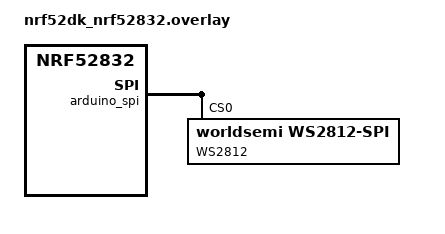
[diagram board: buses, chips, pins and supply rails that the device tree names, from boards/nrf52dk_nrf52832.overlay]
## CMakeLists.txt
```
# SPDX-License-Identifier: Apache-2.0

cmake_minimum_required(VERSION 3.13.1)

find_package(Zephyr REQUIRED HINTS $ENV{ZEPHYR_BASE})
project(led_ws2812)

FILE(GLOB app_sources src/*.c)
target_sources(app PRIVATE ${app_sources})
```

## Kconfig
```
# Copyright (c) 2019 Nordic Semiconductor ASA
# SPDX-License-Identifier: Apache-2.0

# Use the SPI driver by default, unless the GPIO driver is
# specifically configured in.
config SPI
	default y

source "Kconfig.zephyr"
```

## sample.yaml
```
sample:
  description: Demonstration of the WS2812 LED driver
  name: WS2812 sample
tests:
  sample.drivers.led.ws2812:
    platform_allow: bbc_microbit nrf51dk_nrf51422 nrf52dk_nrf52832
    tags: LED
```

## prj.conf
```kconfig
CONFIG_LOG=y
CONFIG_LED_STRIP=y
CONFIG_LED_STRIP_LOG_LEVEL_DBG=y
CONFIG_WS2812_STRIP=y
```

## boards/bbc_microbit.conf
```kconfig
CONFIG_SPI=n
CONFIG_WS2812_STRIP_GPIO=y
```

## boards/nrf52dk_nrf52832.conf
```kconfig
CONFIG_SPI=y

# This driver only uses spi_write() with the SPIM instance it allocates,
# so PAN 58 doesn't matter, because the RX length is always 0.
CONFIG_SOC_NRF52832_ALLOW_SPIM_DESPITE_PAN_58=y
```

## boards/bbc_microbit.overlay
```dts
/*
 * Copyright (c) 2019, Nordic Semiconductor ASA
 *
 * SPDX-License-Identifier: Apache-2.0
 */

#include <dt-bindings/gpio/gpio.h>

/ {
	led_strip: ws2812 {
		compatible = "worldsemi,ws2812-gpio";
		label = "WS2812";

		chain-length = <16>; /* arbitrary; change at will */
		/* P0: */
		in-gpios = <&gpio0 3 0>;
	};

	aliases {
		led-strip = &led_strip;
	};
};
```

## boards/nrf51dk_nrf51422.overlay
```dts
/*
 * Copyright (c) 2019, Nordic Semiconductor ASA
 *
 * SPDX-License-Identifier: Apache-2.0
 */

#include <dt-bindings/gpio/gpio.h>

/ {
	led_strip: ws2812 {
		compatible = "worldsemi,ws2812-gpio";
		label = "WS2812";

		chain-length = <16>; /* arbitrary */
		/*
		 * Arduino D11 / P0.25, which was chosen to match the pin
		 * used in nrf52dk_nrf52832.overlay.
		 */
		in-gpios = <&gpio0 25 0>;
	};

	aliases {
		led-strip = &led_strip;
	};
};
```

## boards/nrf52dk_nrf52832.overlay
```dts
/*
 * Copyright (c) 2019, Nordic Semiconductor ASA
 *
 * SPDX-License-Identifier: Apache-2.0
 */

#include "../nrf52-bindings.h"

&arduino_spi { /* MOSI on D11 / P0.23 */
	compatible = "nordic,nrf-spim";
	led_strip: ws2812@0 {
		compatible = "worldsemi,ws2812-spi";
		label = "WS2812";

		/* SPI */
		reg = <0>; /* ignored, but necessary for SPI bindings */
		spi-max-frequency = <SPI_FREQ>;

		/* WS2812 */
		chain-length = <16>; /* arbitrary; change at will */
		spi-one-frame = <ONE_FRAME>;
		spi-zero-frame = <ZERO_FRAME>;
	};
};

/ {
	aliases {
		led-strip = &led_strip;
	};
};
```

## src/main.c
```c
/*
 * Copyright (c) 2017 Linaro Limited
 * Copyright (c) 2018 Intel Corporation
 *
 * SPDX-License-Identifier: Apache-2.0
 */

#include <errno.h>
#include <string.h>

#define LOG_LEVEL 4
#include <logging/log.h>
LOG_MODULE_REGISTER(main);

#include <zephyr.h>
#include <drivers/led_strip.h>
#include <device.h>
#include <drivers/spi.h>
#include <sys/util.h>

#define STRIP_NODE		DT_ALIAS(led_strip)
#define STRIP_NUM_PIXELS	DT_PROP(DT_ALIAS(led_strip), chain_length)

#define DELAY_TIME K_MSEC(50)

#define RGB(_r, _g, _b) { .r = (_r), .g = (_g), .b = (_b) }

static const struct led_rgb colors[] = {
	RGB(0x0f, 0x00, 0x00), /* red */
	RGB(0x00, 0x0f, 0x00), /* green */
	RGB(0x00, 0x00, 0x0f), /* blue */
};

struct led_rgb pixels[STRIP_NUM_PIXELS];

static const struct device *strip = DEVICE_DT_GET(STRIP_NODE);

void main(void)
{
	size_t cursor = 0, color = 0;
	int rc;

	if (device_is_ready(strip)) {
		LOG_INF("Found LED strip device %s", strip->name);
	} else {
		LOG_ERR("LED strip device %s is not ready", strip->name);
		return;
	}

	LOG_INF("Displaying pattern on strip");
	while (1) {
		memset(&pixels, 0x00, sizeof(pixels));
		memcpy(&pixels[cursor], &colors[color], sizeof(struct led_rgb));
		rc = led_strip_update_rgb(strip, pixels, STRIP_NUM_PIXELS);

		if (rc) {
			LOG_ERR("couldn't update strip: %d", rc);
		}

		cursor++;
		if (cursor >= STRIP_NUM_PIXELS) {
			cursor = 0;
			color++;
			if (color == ARRAY_SIZE(colors)) {
				color = 0;
			}
		}

		k_sleep(DELAY_TIME);
	}
}
```
